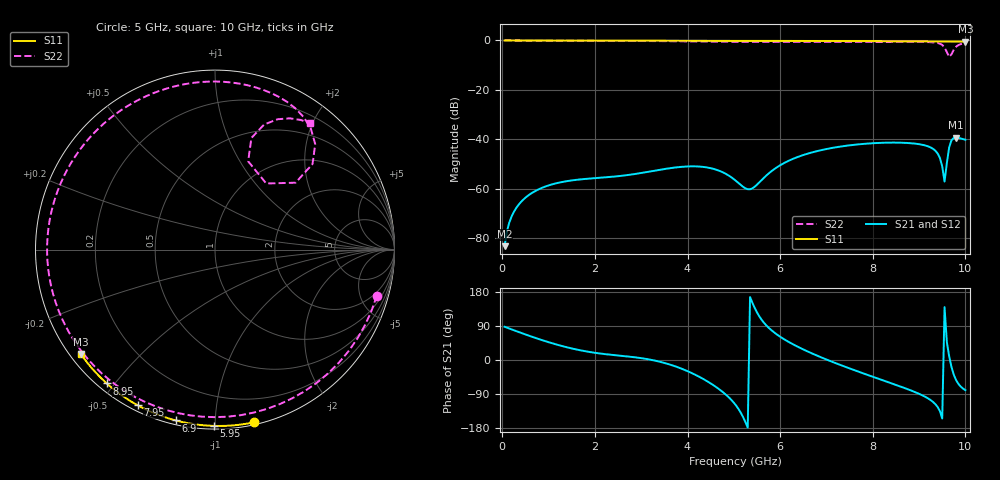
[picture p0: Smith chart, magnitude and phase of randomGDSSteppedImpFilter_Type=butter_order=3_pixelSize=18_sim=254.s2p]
! freq	dB(S11)	phase(S11)	dB(S12)	phase(S12)
!  dB(S21)	phase(S21)	dB(S22)	phase(S22)
!S-par simulation data
#  GHz  S  DB  R 50
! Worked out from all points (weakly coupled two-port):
!   200 points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, 50 MHz to 10 GHz, reference 50 ohm
!   highest |S21| = -39.23 dB at 9.8 GHz (marker M1); lowest = -83.2 dB at 50 MHz (marker M2)
!   lowest |S11| = -0.5 dB at 10 GHz (marker M3), VSWR 36.35, Z = 1.54 - j17.2 ohm
!   |S11| at or under -10 dB: nowhere
!   |S22| runs from -6.6 to 0.0 dB; largest |S21 - S12| = 0
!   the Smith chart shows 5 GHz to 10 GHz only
!   S11 on the Smith chart (normalised r, x): 5 GHz: 0.02, -1.25; 5.95 GHz: 0.02, -0.99; 6.9 GHz: 0.02, -0.80; 7.95 GHz: 0.02, -0.62; 8.95 GHz: 0.03, -0.48; 10 GHz: 0.03, -0.34
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0.05  -0.00 -0.8  -83.16 87.8  -83.16 87.8  -0.00 -3.8
0.55  -0.01 -9.0  -62.82 65.2  -62.82 65.2  -0.05 -41.2
1.15  -0.02 -18.8  -57.80 41.5  -57.80 41.5  -0.10 -83.3
1.75  -0.04 -28.4  -56.06 24.1  -56.06 24.1  -0.13 -121.7
2.6  -0.05 -41.8  -54.67 10.7  -54.67 10.7  -0.18 -173.0
3.4  -0.07 -54.0  -52.29 -4.6  -52.29 -4.6  -0.26 134.8
4.2  -0.09 -65.8  -50.92 -41.0  -50.92 -41.0  -0.40 68.2
4.65  -0.11 -72.3  -52.44 -74.2  -52.44 -74.2  -0.50 22.1
5  -0.12 -77.3  -56.08 -112.7  -56.08 -112.7  -0.56 -16.0
5.05  -0.12 -78.0  -56.83 -120.4  -56.83 -120.4  -0.57 -21.3
5.35  -0.13 -82.1  -60.16 166.2  -60.16 166.2  -0.59 -52.6
5.95  -0.16 -90.3  -51.03 65.5  -51.03 65.5  -0.59 -106.6
6.7  -0.19 -100.3  -45.20 16.7  -45.20 16.7  -0.58 -158.6
6.9  -0.21 -102.9  -44.28 6.3  -44.28 6.3  -0.58 -170.5
7.95  -0.28 -116.4  -41.61 -42.1  -41.61 -42.1  -0.57 134.0
8.35  -0.31 -121.5  -41.31 -59.3  -41.31 -59.3  -0.57 114.3
8.95  -0.36 -129.0  -41.80 -86.6  -41.80 -86.6  -0.58 84.2
9.4  -0.41 -134.6  -45.66 -123.9  -45.66 -123.9  -1.03 56.2
9.55  -0.43 -136.4  -57.05 139.6  -57.05 139.6  -2.82 41.3
9.65  -0.44 -137.7  -43.19 9.4  -43.19 9.4  -6.63 52.2
9.8  -0.45 -139.6  -39.23 -53.3  -39.23 -53.3  -2.52 68.6
10  -0.48 -142.1  -40.13 -79.6  -40.13 -79.6  -1.10 53.3
